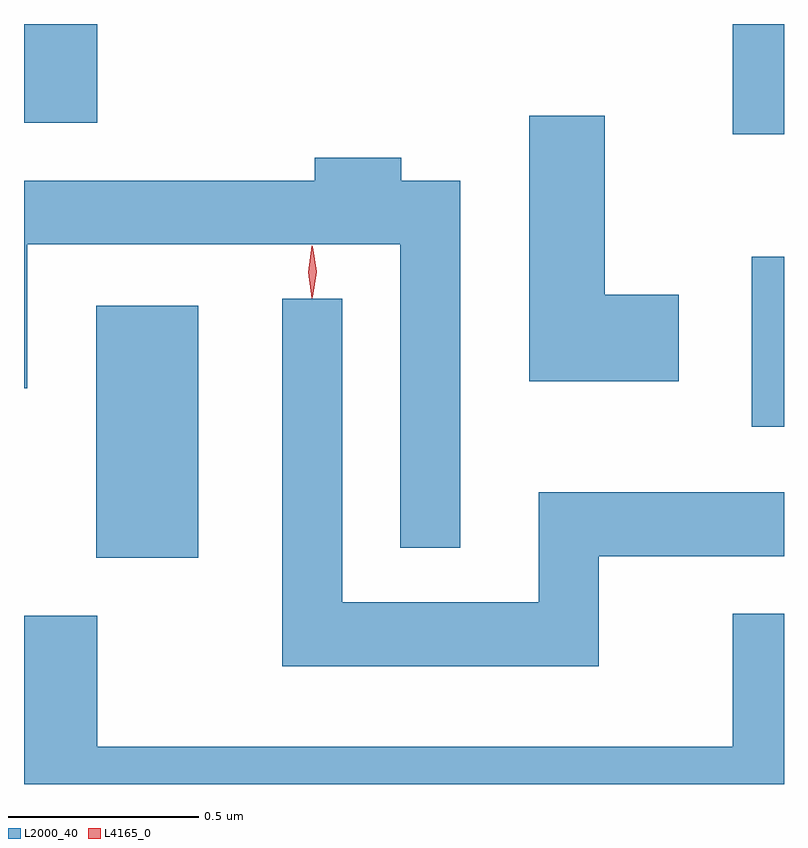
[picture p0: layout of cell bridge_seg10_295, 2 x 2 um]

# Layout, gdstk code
import gdstk
lib = gdstk.Library(unit=1e-6, precision=1e-09)
def R(c, l, rs):  # rectangles x0, y0, x1, y1
    for r in rs: c.add(gdstk.rectangle(r[:2], r[2:], *l))
def P(c, l, *ps):  # polygons
    for p in ps: c.add(gdstk.Polygon(p, *l))
L2000_40 = (2000, 40)
L4165_0 = (4165, 0)

bridge_seg10_295 = lib.new_cell('bridge_seg10_295')
R(bridge_seg10_295, L2000_40, [(1806.266,2101.361,1806.534,2102.024), (1807.991,2101.706,1808.076,2102.154), (1807.941,2102.476,1808.076,2102.766), (1806.076,2102.506,1806.269,2102.766)])
P(bridge_seg10_295, L2000_40, [(1807.799,2102.054),(1807.604,2102.054),(1807.604,2102.524),(1807.406,2102.524),(1807.406,2101.826),(1807.799,2101.826)],
  [(1807.224,2102.354),(1807.069,2102.354),(1807.069,2102.414),(1806.841,2102.414),(1806.841,2102.354),(1806.076,2102.354),(1806.076,2101.808),(1806.084,2101.808),(1806.084,2102.186),(1807.066,2102.186),(1807.066,2101.388),(1807.224,2101.388)],
  [(1807.589,2101.366),(1808.076,2101.366),(1808.076,2101.534),(1807.431,2101.534),(1807.431,2101.244),(1806.914,2101.244),(1806.914,2102.043),(1806.756,2102.043),(1806.756,2101.076),(1807.589,2101.076)],
  [(1808.076,2101.214),(1807.941,2101.214),(1807.941,2100.864),(1806.269,2100.864),(1806.269,2101.209),(1806.076,2101.209),(1806.076,2100.766),(1808.076,2100.766)])
P(bridge_seg10_295, L4165_0, [(1806.835,2102.047),(1806.835,2102.048),(1806.826,2102.114),(1806.835,2102.18),(1806.836,2102.18),(1806.836,2102.18),(1806.846,2102.114),(1806.836,2102.048)],
  [(1806.833,2102.044),(1806.824,2102.113),(1806.833,2102.182),(1806.834,2102.183),(1806.834,2102.182),(1806.844,2102.113),(1806.834,2102.044),(1806.834,2102.044)])

lib.write_gds('bridge_seg10_295.gds')
